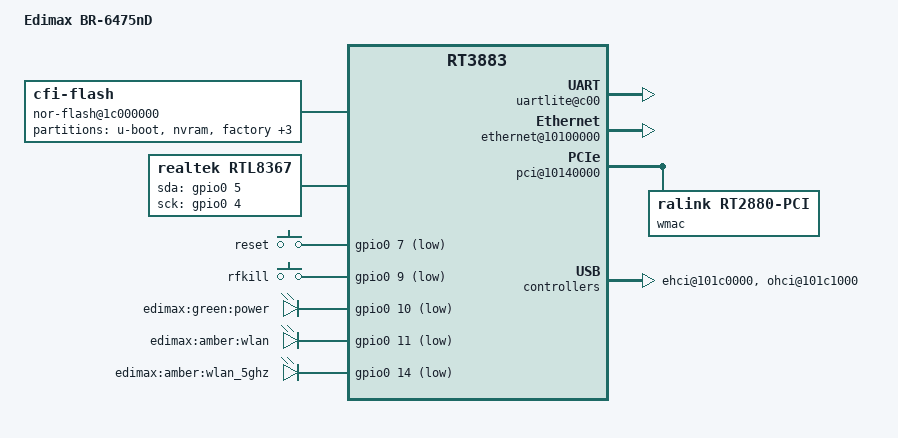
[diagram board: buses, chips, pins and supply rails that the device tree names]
/dts-v1/;

/include/ "rt3883.dtsi"

/ {
	compatible = "BR-6475ND", "ralink,rt3883-soc";
	model = "Edimax BR-6475nD";

	pinctrl {
		state_default: pinctrl0 {
			gpio {
				ralink,group = "spi", "jtag", "uartf";
				ralink,function = "gpio";
			};
		};
	};

	palmbus@10000000 {
		timer@100 {
			status = "okay";
		};

		gpio1: gpio@638 {
			status = "okay";
		};

		uartlite@c00 {
			status = "okay";
		};
	};

	ethernet@10100000 {
		status = "okay";

		port@0 {
			ralink,fixed-link = <1000 1 1 1>;
		};
	};

	wmac@10180000 {
		ralink,mtd-eeprom = <&factory 0>;
	};

	pci@10140000 {
		status = "okay";

		pinctrl-names = "default";
		pinctrl-0 = <&pci_pins>;
		pci_pins: pci {
			pci {
				ralink,group = "pci";
				ralink,function = "pci-fnc";
			};
		};

		host-bridge {
			pci-bridge@1 {
				status = "okay";
				wmac@0,0 {
					compatible = "ralink,rt2880-pci", "pciclass060400", "pciclass0604";
					reg = < 0x10000 0 0 0 0 >;
					ralink,eeprom = "soc_wmac.eeprom";
				};
			};
		};
	};

	ehci@101c0000 {
		status = "okay";
	};

	ohci@101c1000 {
		status = "okay";
	};

	nor-flash@1c000000 {
		compatible = "cfi-flash";
		reg = <0x1c000000 0x800000>;

		bank-width = <2>;
		#address-cells = <1>;
		#size-cells = <1>;

		partition@0 {
			reg = <0x00000000 0x00030000>;
			label = "u-boot";
			read-only;
		};

		partition@30000 {
			reg = <0x00030000 0x00010000>;
			label = "nvram";
			read-only;
		};

		factory: partition@40000 {
			reg = <0x00040000 0x00010000>;
			label = "factory";
			read-only;
		};

		partition@50000 {
			reg = <0x00050000 0x00020000>;
			label = "devdata";
			read-only;
		};

		partition@70000 {
			reg = <0x00070000 0x00790000>;
			label = "firmware";
		};

		partition@170000 {
			reg = <0x00270000 0x00590000>;
			label = "rootfs";
		};
	};

	rtl8367 {
		compatible = "realtek,rtl8367";
		gpio-sda = <&gpio0 5 0>;
		gpio-sck = <&gpio0 4 0>;
		realtek,extif0 = <1 0 1 1 1 1 1 1 2>;
	};

	gpio-keys-polled {
		compatible = "gpio-keys-polled";
		#address-cells = <1>;
		#size-cells = <0>;
		poll-interval = <100>;
		reset {
			label = "reset";
			gpios = <&gpio0 7 1>;
			linux,code = <0x198>;
		};
		rfkill {
			label = "rfkill";
			gpios = <&gpio0 9 1>;
			linux,input-type = <5>;
			linux,code = <0xf7>;
		};
	};

	gpio-leds {
		compatible = "gpio-leds";

		power {
			label = "edimax:green:power";
			gpios = <&gpio0 10 1>;
		};
		wlan {
			label = "edimax:amber:wlan";
			gpios = <&gpio0 11 1>;
		};
		wlan_5ghz {
			label = "edimax:amber:wlan_5ghz";
			gpios = <&gpio0 14 1>;
		};
	};

	/* Unclear if this is the correct gpio setup; the USB ports are
	   unpopulated on a stock BR-6475nD, even though the hardware exists
	   and the headers are there. */
	/*
	gpio_export {
		compatible = "gpio-export";
		#size-cells = <0>;
		usb {
			gpio-export,name="usb";
			gpio-export,output=<0>;
			gpios = <&gpio0 19 0>;
		};
	};
	*/
};
